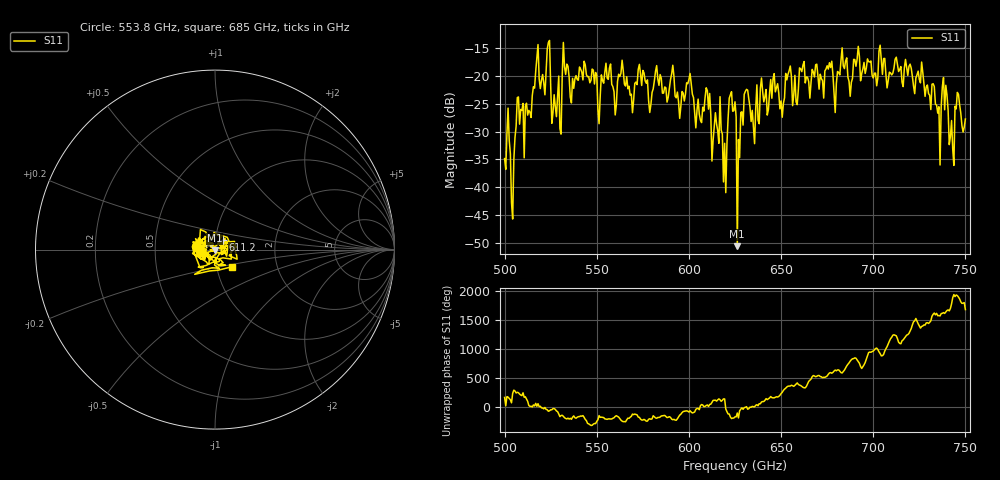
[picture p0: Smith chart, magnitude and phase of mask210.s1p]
!Created with skrf (http://scikit-rf.org).
# GHz S MA R 50.0
!freq magS11 angS11
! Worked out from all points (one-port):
!   401 points, 500 GHz to 750 GHz, reference 50 ohm
!   lowest |S11| = -50.6 dB at 626.2 GHz (marker M1), VSWR 1.01, Z = 50 - j0.294 ohm
!   |S11| at or under -10 dB: start of sweep to end of sweep
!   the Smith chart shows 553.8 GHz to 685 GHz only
!   S11 on the Smith chart (normalised r, x): 553.8 GHz: 0.84, -0.02; 611.2 GHz: 1.08, +0.12; 685 GHz: 1.19, -0.23
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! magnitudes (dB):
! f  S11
! 500 GHz  -34.9
! 504.4 GHz  -45.7
! 507.5 GHz  -23.8
! 511.9 GHz  -24.9
! 517.5 GHz  -16.8
! 523.8 GHz  -14.0
! 526.9 GHz  -23.4
! 531.2 GHz  -20.1
! 533.1 GHz  -19.7
! 553.8 GHz  -21.3
! 562.5 GHz  -20.1
! 593.8 GHz  -22.9
! 611.2 GHz  -23.2
! 619.4 GHz  -32.1
! 623.8 GHz  -26.4
! 625 GHz  -24.7
! 626.2 GHz  -50.6
! 631.2 GHz  -22.4
! 635 GHz  -29.2
! 656.2 GHz  -25.4
! 685 GHz  -17.3
! 687.5 GHz  -23.7
! 718.8 GHz  -19.9
! 735 GHz  -26.7
! 738.8 GHz  -26.1
! 742.5 GHz  -28.0
! 745.6 GHz  -23.0
! 750 GHz  -27.8
